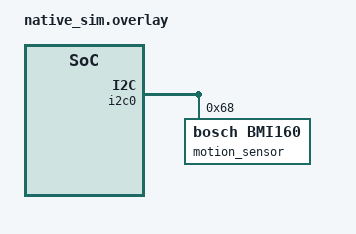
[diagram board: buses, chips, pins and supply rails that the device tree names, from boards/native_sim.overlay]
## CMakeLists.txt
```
cmake_minimum_required(VERSION 3.20.0)
find_package(Zephyr REQUIRED HINTS $ENV{ZEPHYR_BASE})
project(day4_environment_check)

target_sources(app PRIVATE src/main.c)
```

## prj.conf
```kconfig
CONFIG_SENSOR=y
CONFIG_I2C=y
CONFIG_EMUL=y
CONFIG_BMI160_TRIGGER_NONE=y
CONFIG_LOG=y
CONFIG_LOG_DEFAULT_LEVEL=3
```

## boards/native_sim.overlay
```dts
/ {
	aliases {
		motion-sensor = &motion_sensor;
	};
};

&i2c0 {
	status = "okay";

	motion_sensor: bmi160@68 {
		compatible = "bosch,bmi160";
		reg = <0x68>;
		status = "okay";
	};
};
```

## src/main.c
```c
#include <errno.h>
#include <stdint.h>

#include <zephyr/device.h>
#include <zephyr/devicetree.h>
#include <zephyr/drivers/emul.h>
#include <zephyr/drivers/emul_sensor.h>
#include <zephyr/drivers/sensor.h>
#include <zephyr/kernel.h>
#include <zephyr/logging/log.h>

LOG_MODULE_REGISTER(day4_check, LOG_LEVEL_INF);

#define MOTION_NODE DT_ALIAS(motion_sensor)

static int set_axis(const struct emul *emulator, enum sensor_channel channel, q31_t value)
{
	const struct sensor_chan_spec spec = {
		.chan_type = channel,
		.chan_idx = 0,
	};

	return emul_sensor_backend_set_channel(emulator, spec, &value, 3);
}

int main(void)
{
	const struct device *const sensor = DEVICE_DT_GET(MOTION_NODE);
	const struct emul *const emulator = EMUL_DT_GET(MOTION_NODE);
	struct sensor_value full_scale = { .val1 = 39, .val2 = 226600 };
	struct sensor_value values[3];
	int rc;

	if (!device_is_ready(sensor)) {
		LOG_ERR("motion sensor is not ready");
		return -ENODEV;
	}

	rc = sensor_attr_set(sensor, SENSOR_CHAN_ACCEL_XYZ,
			     SENSOR_ATTR_FULL_SCALE, &full_scale);
	if (rc < 0) {
		LOG_ERR("cannot configure accelerometer: %d", rc);
		return rc;
	}

	rc = set_axis(emulator, SENSOR_CHAN_ACCEL_X, 0);
	rc = rc < 0 ? rc : set_axis(emulator, SENSOR_CHAN_ACCEL_Y, 1 << 28);
	rc = rc < 0 ? rc : set_axis(emulator, SENSOR_CHAN_ACCEL_Z, 2 << 28);
	if (rc < 0) {
		LOG_ERR("cannot configure emulator: %d", rc);
		return rc;
	}

	rc = sensor_sample_fetch(sensor);
	if (rc < 0) {
		LOG_ERR("sample fetch failed: %d", rc);
		return rc;
	}

	rc = sensor_channel_get(sensor, SENSOR_CHAN_ACCEL_XYZ, values);
	if (rc < 0) {
		LOG_ERR("channel read failed: %d", rc);
		return rc;
	}

	LOG_INF("DAY4_SMOKE sensor=%s x=%lld y=%lld z=%lld mm/s2", sensor->name,
		(int64_t)sensor_value_to_milli(&values[0]),
		(int64_t)sensor_value_to_milli(&values[1]),
		(int64_t)sensor_value_to_milli(&values[2]));
	LOG_INF("DAY4_SMOKE PASS");
	return 0;
}
```
